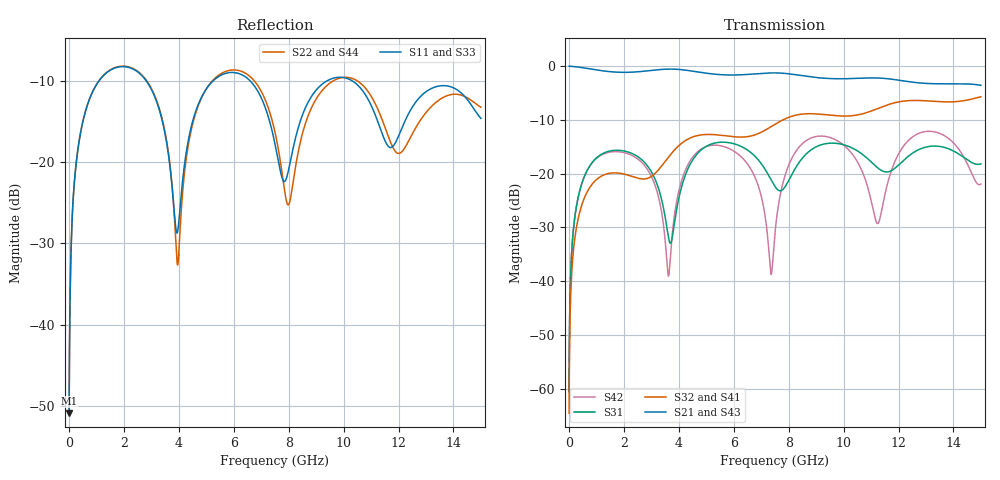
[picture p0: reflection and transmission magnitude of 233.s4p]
! Created with skrf 1.8.0 (http://scikit-rf.org).
# GHz S RI R 50.0
!freq ReS11 ImS11 ReS12 ImS12 ReS13 ImS13
! ReS14 ImS14
! ReS21 ImS21 ReS22 ImS22 ReS23 ImS23
! ReS24 ImS24
! ReS31 ImS31 ReS32 ImS32 ReS33 ImS33
! ReS34 ImS34
! ReS41 ImS41 ReS42 ImS42 ReS43 ImS43
! ReS44 ImS44
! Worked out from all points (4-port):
!   2499 points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, 5 MHz to 15 GHz, reference 50 ohm
!   strongest paths, dB at 5 MHz, 3.476 GHz, 7.19 GHz, 11.1 GHz, 15 GHz:
!     S21: 0.0, -0.6, -1.3, -2.2, -3.6
!     S43: 0.0, -0.6, -1.3, -2.2, -3.6
!     S32: -64.5, -17.9, -11.8, -8.2, -5.7
!     S41: -64.5, -17.9, -11.8, -8.2, -5.7
!     S31: -60.5, -27.3, -19.6, -18.3, -18.2
!     S42: -60.5, -31.1, -29.7, -27.2, -21.9
!   lowest |S11| = -50.9 dB at 5 MHz (marker M1), VSWR 1.01, Z = 50.2 + j0.172 ohm
!   |S11| at or under -10 dB: 2.82 GHz to 5.238 GHz (2.418 GHz wide, 60 % of centre); 6.606 GHz to 9.378 GHz (2.771 GHz wide, 34.7 % of centre); 10.33 GHz to end of sweep (the widest 3 of 4)
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0.005  0.00227 0.00171  0.9977 -0.0044  0.000118 0.000935  -0.000114 -0.000581
       0.9977 -0.0044  0.00227 0.00171  -0.000114 -0.000581  0.000117 0.000935
       0.000118 0.000935  -0.000114 -0.000581  0.00227 0.00171  0.9977 -0.0044
       -0.000114 -0.000581  0.000117 0.000935  0.9977 -0.0044  0.00227 0.00171
0.2626094  0.0319 0.0936  0.9565 -0.2292  0.0155 0.0456  -0.0126 -0.0278
           0.9565 -0.2292  0.032 0.0936  -0.0126 -0.0278  0.0148 0.0458
           0.0155 0.0456  -0.0126 -0.0278  0.0319 0.0936  0.9565 -0.2292
           -0.0126 -0.0278  0.0148 0.0458  0.9565 -0.2292  0.032 0.0936
1.219258  0.2941 0.1644  0.4901 -0.759  0.1451 0.0497  -0.0958 0.00395
          0.4901 -0.759  0.2967 0.1624  -0.0959 0.00409  0.1378 0.0612
          0.1451 0.0497  -0.0959 0.00409  0.2941 0.1645  0.49 -0.759
          -0.0958 0.00395  0.1378 0.0612  0.49 -0.759  0.2968 0.1624
3.914131  0.0365 -0.00716  -0.9293 -0.0938  -0.0117 0.0439  -0.014 0.173
          -0.9293 -0.0938  0.023 -0.0143  -0.0121 0.1732  0.017 0.0512
          -0.0117 0.0439  -0.0121 0.1732  0.0361 -0.00748  -0.9293 -0.0937
          -0.014 0.173  0.017 0.0512  -0.9293 -0.0937  0.0236 -0.0144
7.84702  0.0761 -3.13e-05  0.834 0.1895  -0.0537 0.051  0.0695 -0.3138
         0.834 0.1895  0.0553 -0.0394  0.0611 -0.3152  0.0317 0.0866
         -0.0537 0.051  0.0611 -0.3152  0.0826 -0.00121  0.8338 0.1892
         0.0695 -0.3138  0.0317 0.0866  0.8338 0.1892  0.0506 -0.0417
11.93622  0.1325 0.0348  -0.7252 -0.1662  -0.0577 0.1007  -0.0996 0.4494
          -0.7252 -0.1662  0.112 -0.0234  -0.085 0.4528  0.0253 0.1391
          -0.0577 0.1007  -0.085 0.4528  0.1315 0.0307  -0.7255 -0.1642
          -0.0996 0.4494  0.0253 0.1391  -0.7255 -0.1642  0.1152 -0.0214
15  0.1855 -0.0196  0.3536 0.5605  -0.1135 -0.048  0.4471 -0.2658
    0.3536 0.5605  0.2182 -0.0113  0.4326 -0.2857  -0.0764 -0.0238
    -0.1135 -0.048  0.4326 -0.2857  0.1944 -0.0122  0.3575 0.5579
    0.4471 -0.2658  -0.0764 -0.0238  0.3575 0.5579  0.2107 -0.0208
